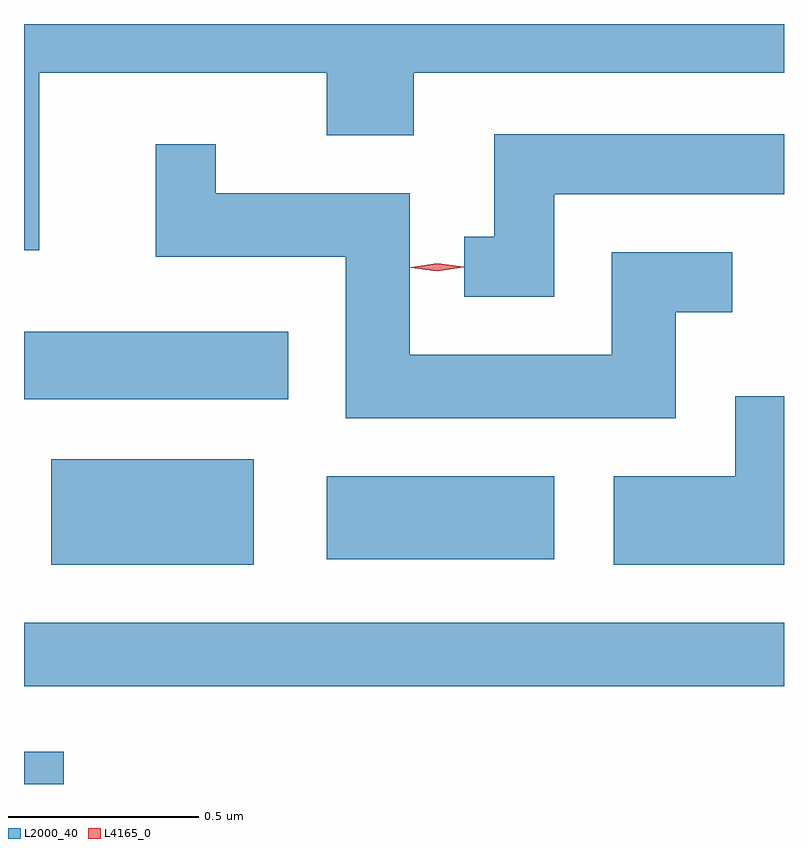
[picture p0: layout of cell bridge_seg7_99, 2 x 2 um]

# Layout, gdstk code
import gdstk
lib = gdstk.Library(unit=1e-6, precision=1e-09)
def R(c, l, rs):  # rectangles x0, y0, x1, y1
    for r in rs: c.add(gdstk.rectangle(r[:2], r[2:], *l))
def P(c, l, *ps):  # polygons
    for p in ps: c.add(gdstk.Polygon(p, *l))
L2000_40 = (2000, 40)
L4165_0 = (4165, 0)

bridge_seg7_99 = lib.new_cell('bridge_seg7_99')
R(bridge_seg7_99, L2000_40, [(1623.044,1743.524,1623.149,1743.609), (1623.044,1743.781,1625.044,1743.949), (1623.116,1744.101,1623.649,1744.379), (1623.841,1744.116,1624.439,1744.334), (1623.044,1744.536,1623.739,1744.714)])
P(bridge_seg7_99, L2000_40, [(1623.084,1745.396),(1623.841,1745.396),(1623.841,1745.231),(1624.069,1745.231),(1624.069,1745.396),(1625.044,1745.396),(1625.044,1745.524),(1623.044,1745.524),(1623.044,1744.928),(1623.084,1744.928)],
  [(1624.439,1745.076),(1625.044,1745.076),(1625.044,1745.234),(1624.281,1745.234),(1624.281,1744.964),(1624.203,1744.964),(1624.203,1744.806),(1624.439,1744.806)],
  [(1624.759,1744.766),(1624.908,1744.766),(1624.908,1744.924),(1624.591,1744.924),(1624.591,1744.654),(1624.059,1744.654),(1624.059,1745.079),(1623.549,1745.079),(1623.549,1745.208),(1623.391,1745.208),(1623.391,1744.911),(1623.891,1744.911),(1623.891,1744.486),(1624.759,1744.486)],
  [(1625.044,1744.544),(1624.916,1744.544),(1624.916,1744.334),(1624.596,1744.334),(1624.596,1744.101),(1625.044,1744.101)])
P(bridge_seg7_99, L4165_0, [(1624.131,1744.874),(1624.062,1744.883),(1624.062,1744.884),(1624.062,1744.884),(1624.131,1744.894),(1624.201,1744.885),(1624.201,1744.884),(1624.201,1744.884)])

lib.write_gds('bridge_seg7_99.gds')
